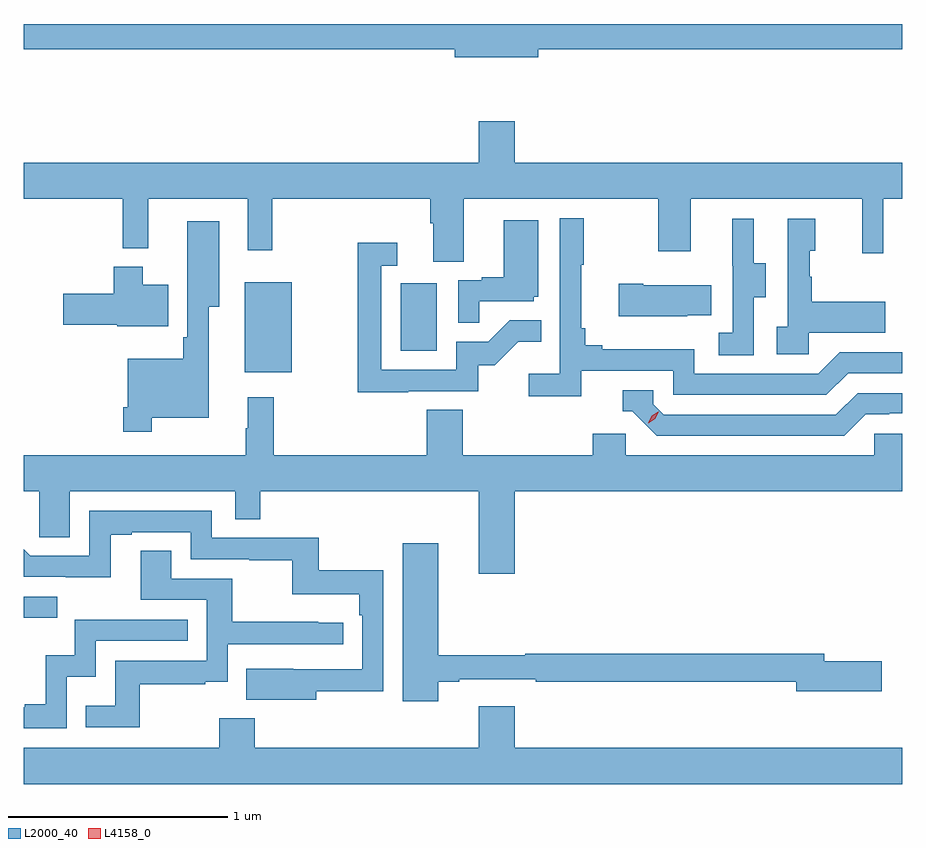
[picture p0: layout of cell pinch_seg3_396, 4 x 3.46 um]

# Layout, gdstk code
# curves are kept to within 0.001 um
import gdstk
lib = gdstk.Library(unit=1e-6, precision=1e-09)
def R(c, l, rs):  # rectangles x0, y0, x1, y1
    for r in rs: c.add(gdstk.rectangle(r[:2], r[2:], *l))
def P(c, l, *ps):  # polygons
    for p in ps: c.add(gdstk.Polygon(p, *l))
L2000_40 = (2000, 40)
L4158_0 = (4158, 0)

pinch_seg3_396 = lib.new_cell('pinch_seg3_396')
R(pinch_seg3_396, L2000_40, [(894.205,689.684,894.358,689.781), (895.211,690.803,895.426,691.213), (895.922,690.9,896.086,691.207)])
P(pinch_seg3_396, L2000_40, [(896.548,692.272),(898.205,692.272),(898.205,692.388),(894.205,692.388),(894.205,692.272),(896.168,692.272),(896.168,692.237),(896.548,692.237)],
  [(896.209,691.592),(897.094,691.592),(897.094,691.353),(897.241,691.353),(897.241,691.592),(898.022,691.592),(898.022,691.344),(898.119,691.344),(898.119,691.592),(898.205,691.592),(898.205,691.756),(896.44,691.756),(896.44,691.945),(896.276,691.945),(896.276,691.756),(894.205,691.756),(894.205,691.592),(894.655,691.592),(894.655,691.367),(894.772,691.367),(894.772,691.592),(895.226,691.592),(895.226,691.359),(895.336,691.359),(895.336,691.592),(896.057,691.592),(896.057,691.48),(896.069,691.48),(896.069,691.306),(896.209,691.306)],
  [(896.744,690.81),(897.162,690.81),(897.162,690.699),(897.859,690.699),(897.958,690.798),(898.205,690.798),(898.205,690.894),(897.921,690.894),(897.822,690.795),(897.258,690.795),(897.258,690.907),(896.839,690.907),(896.839,690.926),(896.762,690.926),(896.762,691.003),(896.743,691.003),(896.743,691.291),(896.755,691.291),(896.755,691.504),(896.646,691.504),(896.646,690.796),(896.505,690.796),(896.505,690.694),(896.744,690.694)],
  [(897.528,691.144),(897.583,691.144),(897.583,691.299),(897.529,691.299),(897.529,691.501),(897.431,691.501),(897.431,691.287),(897.432,691.287),(897.432,690.983),(897.369,690.983),(897.369,690.88),(897.528,690.88)],
  [(897.78,690.983),(898.127,690.983),(898.127,691.123),(897.793,691.123),(897.793,691.238),(897.783,691.238),(897.783,691.356),(897.808,691.356),(897.808,691.501),(897.684,691.501),(897.684,691.01),(897.633,691.01),(897.633,690.885),(897.78,690.885)],
  [(896.279,691.125),(896.526,691.125),(896.526,691.146),(896.548,691.146),(896.548,691.495),(896.39,691.495),(896.39,691.234),(896.291,691.234),(896.291,691.221),(896.184,691.221),(896.184,691.027),(896.279,691.027)],
  [(894.787,690.596),(895.048,690.596),(895.048,691.1),(895.096,691.1),(895.096,691.489),(894.95,691.489),(894.95,690.961),(894.931,690.961),(894.931,690.865),(894.678,690.865),(894.678,690.643),(894.658,690.643),(894.658,690.531),(894.787,690.531)],
  [(895.955,690.717),(896.274,690.717),(896.274,690.834),(896.35,690.834),(896.457,690.941),(896.561,690.941),(896.561,691.04),(896.417,691.04),(896.319,690.942),(896.175,690.942),(896.175,690.813),(895.833,690.813),(895.833,691.287),(895.906,691.287),(895.906,691.393),(895.725,691.393),(895.725,690.712),(895.955,690.712)],
  [(894.862,691.201),(894.748,691.201),(894.748,691.282),(894.614,691.282),(894.614,691.161),(894.384,691.161),(894.384,691.019),(894.63,691.019),(894.63,691.013),(894.862,691.013)],
  [(897.227,691.061),(897.335,691.061),(897.335,691.198),(897.025,691.198),(897.025,691.206),(896.913,691.206),(896.913,691.058),(897.227,691.058)],
  [(898.039,690.612),(898.146,690.612),(898.146,690.615),(898.205,690.615),(898.205,690.708),(898.002,690.708),(897.903,690.609),(897.12,690.609),(897.072,690.657),(897.072,690.72),(896.933,690.72),(896.933,690.624),(896.976,690.624),(897.087,690.513),(897.94,690.513)],
  [(896.44,690.26),(898.205,690.26),(898.205,690.522),(898.077,690.522),(898.077,690.424),(896.946,690.424),(896.946,690.522),(896.795,690.522),(896.795,690.424),(896.204,690.424),(896.204,690.632),(896.039,690.632),(896.039,690.424),(895.343,690.424),(895.343,690.688),(895.226,690.688),(895.226,690.548),(895.215,690.548),(895.215,690.424),(894.205,690.424),(894.205,690.26),(894.276,690.26),(894.276,690.052),(894.415,690.052),(894.415,690.26),(895.167,690.26),(895.167,690.133),(895.283,690.133),(895.283,690.26),(896.276,690.26),(896.276,689.886),(896.44,689.886)],
  [(895.537,689.35),(895.842,689.35),(895.842,689.902),(895.549,689.902),(895.549,690.048),(895.062,690.048),(895.062,690.171),(894.504,690.171),(894.504,689.967),(894.234,689.967),(894.205,689.996),(894.205,689.871),(894.601,689.87),(894.601,690.063),(894.697,690.063),(894.697,690.075),(894.966,690.075),(894.966,689.952),(895.231,689.952),(895.231,689.947),(895.428,689.947),(895.428,689.792),(895.733,689.792),(895.733,689.696),(895.746,689.696),(895.746,689.451),(895.219,689.452),(895.219,689.312),(895.537,689.312)],
  [(896.092,689.394),(896.188,689.394),(896.188,689.406),(896.536,689.406),(896.536,689.394),(897.722,689.394),(897.722,689.351),(898.111,689.351),(898.111,689.486),(897.85,689.486),(897.85,689.522),(896.488,689.522),(896.488,689.515),(896.092,689.515),(896.092,690.025),(895.931,690.025),(895.931,689.304),(896.092,689.304)],
  [(894.733,689.382),(895.031,689.382),(895.031,689.393),(895.134,689.393),(895.134,689.565),(895.66,689.565),(895.66,689.661),(895.547,689.661),(895.547,689.666),(895.154,689.666),(895.154,689.862),(894.877,689.862),(894.877,689.99),(894.737,689.99),(894.737,689.766),(895.038,689.766),(895.038,689.49),(894.622,689.49),(894.622,689.284),(894.487,689.284),(894.487,689.187),(894.733,689.187)],
  [(894.402,689.417),(894.534,689.417),(894.534,689.58),(894.953,689.58),(894.953,689.676),(894.438,689.676),(894.438,689.515),(894.305,689.515),(894.305,689.29),(894.209,689.29),(894.209,689.277),(894.205,689.277),(894.205,689.181),(894.402,689.181)],
  [(898.205,689.092),(896.44,689.092),(896.44,689.281),(896.276,689.281),(896.276,689.092),(895.256,689.092),(895.256,689.227),(895.096,689.227),(895.096,689.092),(894.205,689.092),(894.205,688.928),(898.205,688.928)])
P(pinch_seg3_396, L4158_0, [(897.049,690.571),(897.049,690.571),(897.065,690.604),(897.095,690.623),(897.096,690.623),(897.096,690.623),(897.08,690.59),(897.049,690.571)])

lib.write_gds('pinch_seg3_396.gds')
